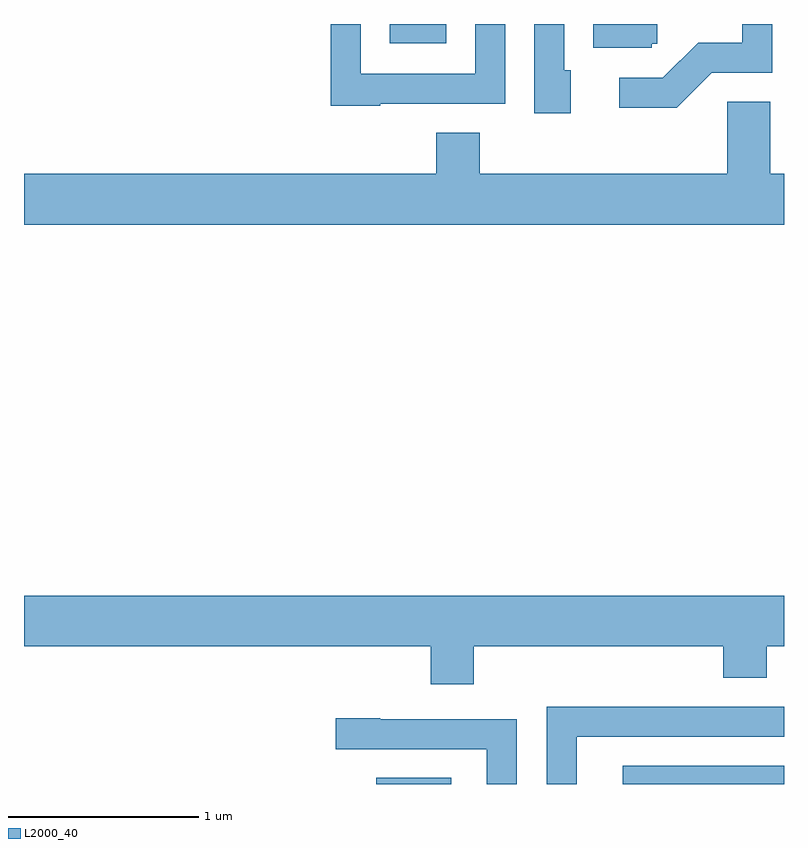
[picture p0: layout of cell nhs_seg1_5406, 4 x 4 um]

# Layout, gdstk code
import gdstk
lib = gdstk.Library(unit=1e-6, precision=1e-09)
def R(c, l, rs):  # rectangles x0, y0, x1, y1
    for r in rs: c.add(gdstk.rectangle(r[:2], r[2:], *l))
def P(c, l, *ps):  # polygons
    for p in ps: c.add(gdstk.Polygon(p, *l))
L2000_40 = (2000, 40)

nhs_seg1_5406 = lib.new_cell('nhs_seg1_5406')
R(nhs_seg1_5406, L2000_40, [(349.466,927.712,349.859,927.744), (350.763,927.712,351.611,927.809), (349.536,931.611,349.834,931.712)])
P(nhs_seg1_5406, L2000_40, [(349.485,931.291),(350.144,931.291),(350.144,931.712),(349.986,931.712),(349.986,931.449),(349.384,931.449),(349.384,931.712),(349.226,931.712),(349.226,931.281),(349.485,931.281)],
  [(351.232,931.456),(351.549,931.456),(351.549,931.712),(351.391,931.712),(351.391,931.614),(351.159,931.614),(350.974,931.429),(350.743,931.429),(350.743,931.271),(351.047,931.271)],
  [(350.914,931.607),(350.944,931.607),(350.944,931.712),(350.606,931.712),(350.606,931.586),(350.914,931.586)],
  [(350.489,931.469),(350.454,931.469),(350.454,931.712),(350.296,931.712),(350.296,931.241),(350.489,931.241)],
  [(351.611,930.924),(351.539,930.924),(351.539,931.304),(351.311,931.304),(351.311,930.924),(350.009,930.924),(350.009,931.139),(349.781,931.139),(349.781,930.924),(347.611,930.924),(347.611,930.656),(351.611,930.656)],
  [(349.979,928.436),(351.291,928.436),(351.291,928.271),(351.519,928.271),(351.519,928.436),(351.611,928.436),(351.611,928.704),(347.611,928.704),(347.611,928.436),(349.751,928.436),(349.751,928.236),(349.979,928.236)],
  [(350.519,927.961),(351.611,927.961),(351.611,928.119),(350.361,928.119),(350.361,927.712),(350.519,927.712)],
  [(350.204,928.054),(349.485,928.054),(349.485,928.059),(349.253,928.059),(349.253,927.896),(350.046,927.896),(350.046,927.712),(350.204,927.712)])

lib.write_gds('nhs_seg1_5406.gds')
